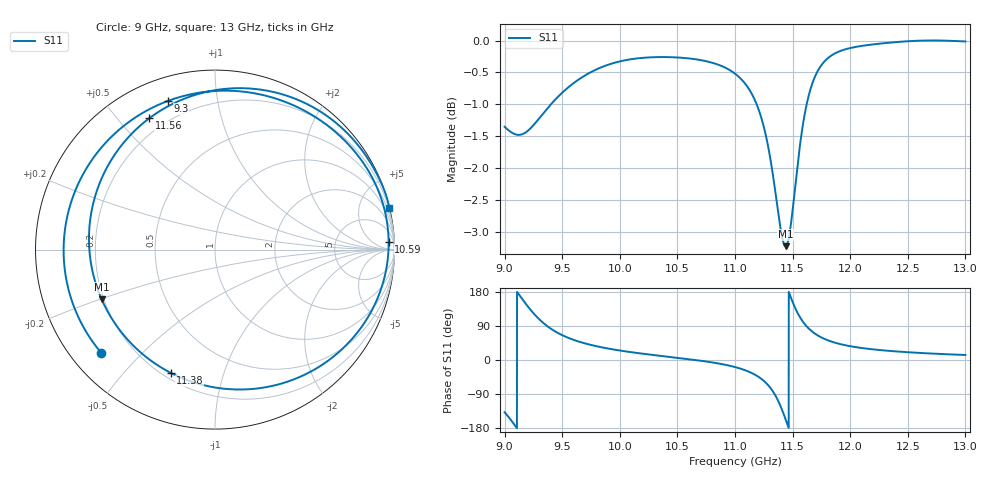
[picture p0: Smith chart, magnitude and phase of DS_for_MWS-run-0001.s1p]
! TOUCHSTONE file generated by CST DESIGN STUDIO
! Date and time: Tue Feb  4 12:52:40 2025
! Project name: C:\Work\MatlabApps\UnitCellOptimizationMatlab\CST\unitcell.cst
! Tree item: Tasks\Sweep1\SPara1\S-Parameters
! Header version: 2024
! Port assignment regex: !\s*Touchstone port\s*([0-9]+)\s*=\s*(CST MWS port|CST DES external port|CST DES block port)\s*(.+)\s* \(\"(.*)\"\)(\s*mode\s*([0-9]+))?.*
! Touchstone port assignment:
! Touchstone port 1 = CST DES external port 1 ("")
# GHz S MA R 50
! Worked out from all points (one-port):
!   4001 points, 9 GHz to 13 GHz, reference 50 ohm
!   lowest |S11| = -3.2 dB at 11.44 GHz (marker M1), VSWR 5.45, Z = 9.57 - j10.1 ohm
!   |S11| at or under -10 dB: nowhere
!   S11 on the Smith chart (normalised r, x): 9 GHz: 0.09, -0.38; 9.3 GHz: 0.11, +0.73; 10.59 GHz: 20, +29; 11.38 GHz: 0.23, -0.68; 11.56 GHz: 0.14, +0.61; 13 GHz: 0.06, +8.60
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9  0.8558 -137.9
9.077  0.8453 -167.4
9.137  0.8435 167.5
9.221  0.8526 133.9
9.3  0.8688 107.6
9.384  0.8874 86.3
9.5  0.9101 65.5
9.708  0.94 42.9
10  0.963 25.0
10.5  0.9698 5.8
10.587  0.9684 2.7
11  0.9419 -18.6
11.13  0.9134 -32.2
11.225  0.8718 -48.9
11.273  0.8383 -61.7
11.318  0.7964 -78.0
11.378  0.7295 -109.8
11.408  0.7017 -131.1
11.439  0.6897 -156.3
11.469  0.7018 178.1
11.5  0.736 153.2
11.557  0.8183 116.6
11.626  0.8945 87.5
11.734  0.9518 62.1
11.846  0.9745 47.7
12  0.9865 36.4
12.5  0.9987 20.5
13  0.9983 13.3
